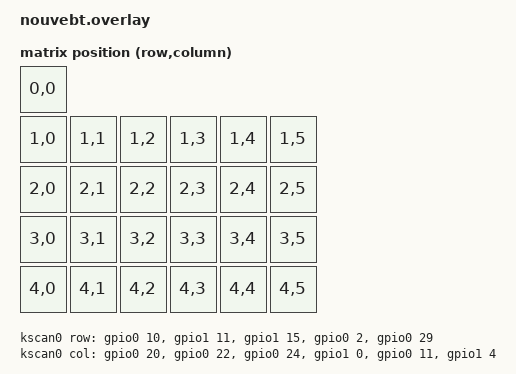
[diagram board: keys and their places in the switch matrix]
#include <dt-bindings/zmk/matrix_transform.h>

/ {
    chosen {
        zmk,kscan = &kscan0;
        zmk,matrix_transform = &default_transform;
    };

    default_transform: matrix_transform {
        compatible = "zmk,matrix-transform";
        columns = <6>;
        rows = <5>;

        map = <
            RC(0,0)
            RC(1,0) RC(1,1) RC(1,2) RC(1,3) RC(1,4) RC(1,5)
            RC(2,0) RC(2,1) RC(2,2) RC(2,3) RC(2,4) RC(2,5)
            RC(3,0) RC(3,1) RC(3,2) RC(3,3) RC(3,4) RC(3,5)
            RC(4,0) RC(4,1) RC(4,2) RC(4,3) RC(4,4) RC(4,5)
        >;
    };

    kscan0: kscan {
        compatible = "zmk,kscan-gpio-matrix";
        label = "KSCAN";
        diode-direction = "col2row";

        row-gpios
            = <&gpio0 10 (GPIO_ACTIVE_HIGH | GPIO_PULL_DOWN)> // Rząd 0 (010)
            , <&gpio1 11 (GPIO_ACTIVE_HIGH | GPIO_PULL_DOWN)> // Rząd 1 (111)
            , <&gpio1 15 (GPIO_ACTIVE_HIGH | GPIO_PULL_DOWN)> // Rząd 2 (115)
            , <&gpio0 2  (GPIO_ACTIVE_HIGH | GPIO_PULL_DOWN)> // Rząd 3 (002)
            , <&gpio0 29 (GPIO_ACTIVE_HIGH | GPIO_PULL_DOWN)> // Rząd 4 (029)
            ;

        col-gpios
            = <&gpio0 20 GPIO_ACTIVE_HIGH> // Kolumna 0 (020)
            , <&gpio0 22 GPIO_ACTIVE_HIGH> // Kolumna 1 (022)
            , <&gpio0 24 GPIO_ACTIVE_HIGH> // Kolumna 2 (024)
            , <&gpio1 0  GPIO_ACTIVE_HIGH> // Kolumna 3 (100)
            , <&gpio0 11 GPIO_ACTIVE_HIGH> // Kolumna 4 (011)
            , <&gpio1 4  GPIO_ACTIVE_HIGH> // Kolumna 5 (104)
            ;
    };
};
